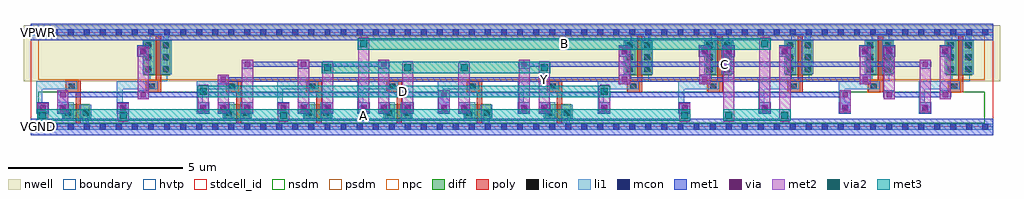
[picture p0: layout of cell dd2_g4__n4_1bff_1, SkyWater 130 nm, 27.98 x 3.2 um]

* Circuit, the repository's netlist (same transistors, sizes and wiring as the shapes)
* Generated reference circuit; dimensions in micrometers.
.subckt dd2_g4__n4_1bff_1 A B C D VGND VNB VPB VPWR Y
XM0 _net1 A VGND VNB sky130_fd_pr__nfet_01v8 w=0.420 l=0.150
XM1 _net1 A VPWR VPB sky130_fd_pr__pfet_01v8_hvt w=1.000 l=0.150
XM2 Y D _net3 VNB sky130_fd_pr__nfet_01v8 w=0.420 l=0.150
XM3 _net3 A _net2 VNB sky130_fd_pr__nfet_01v8 w=0.420 l=0.150
XM4 _net3 B _net2 VNB sky130_fd_pr__nfet_01v8 w=0.420 l=0.150
XM5 _net2 _net1 VGND VNB sky130_fd_pr__nfet_01v8 w=0.420 l=0.150
XM6 _net2 C VGND VNB sky130_fd_pr__nfet_01v8 w=0.420 l=0.150
XM7 Y D VPWR VPB sky130_fd_pr__pfet_01v8_hvt w=1.000 l=0.150
XM8 Y A _net4 VPB sky130_fd_pr__pfet_01v8_hvt w=1.000 l=0.150
XM9 _net4 B VPWR VPB sky130_fd_pr__pfet_01v8_hvt w=1.000 l=0.150
XM10 Y _net1 _net5 VPB sky130_fd_pr__pfet_01v8_hvt w=1.000 l=0.150
XM11 _net5 C VPWR VPB sky130_fd_pr__pfet_01v8_hvt w=1.000 l=0.150
.ends dd2_g4__n4_1bff_1

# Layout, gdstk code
import gdstk
lib = gdstk.Library(unit=1e-6, precision=1e-09)
def R(c, l, rs):  # rectangles x0, y0, x1, y1
    for r in rs: c.add(gdstk.rectangle(r[:2], r[2:], *l))
def A(c, l, x, y, w, h, nx, ny, dx, dy):  # array of equal rectangles
    R(c, l, [(x+i*dx, y+j*dy, x+i*dx+w, y+j*dy+h) for i in range(nx) for j in range(ny)])
nwell = (64, 20)
diff = (65, 20)
poly = (66, 20)
licon = (66, 44)
li1 = (67, 20)
mcon = (67, 44)
met1 = (68, 20)
via = (68, 44)
met2 = (69, 20)
via2 = (69, 44)
met3 = (70, 20)
hvtp = (78, 44)
stdcell_id = (81, 4)
nsdm = (93, 44)
psdm = (94, 20)
npc = (95, 20)
boundary = (235, 4)

dd2_g4__n4_1bff_1 = lib.new_cell('dd2_g4__n4_1bff_1')
R(dd2_g4__n4_1bff_1, nwell, [(-0.19,1.305,27.79,2.91)])
A(dd2_g4__n4_1bff_1, diff, 5.55, 0.235, 0.75, 0.42, 5, 1, 2.3, 0)
A(dd2_g4__n4_1bff_1, diff, 17.05, 1.485, 0.75, 1, 5, 1, 2.3, 0)
R(dd2_g4__n4_1bff_1, diff, [(0.95,0.235,1.7,0.655), (3.25,1.485,4,2.485)])
A(dd2_g4__n4_1bff_1, poly, 5.89, 0.105, 0.15, 1.22, 5, 1, 2.3, 0)
A(dd2_g4__n4_1bff_1, poly, 1.01, 0.995, 0.43, 0.33, 12, 1, 2.3, 0)
A(dd2_g4__n4_1bff_1, poly, 17.39, 0.995, 0.15, 1.62, 5, 1, 2.3, 0)
R(dd2_g4__n4_1bff_1, poly, [(1.29,0.105,1.44,1.325), (3.59,0.995,3.74,2.615)])
A(dd2_g4__n4_1bff_1, licon, 1.09, 1.075, 0.17, 0.17, 12, 1, 2.3, 0)
A(dd2_g4__n4_1bff_1, licon, 3.29, 1.575, 0.17, 0.17, 1, 3, 0, 0.34)
A(dd2_g4__n4_1bff_1, licon, 3.79, 1.575, 0.17, 0.17, 1, 3, 0, 0.34)
A(dd2_g4__n4_1bff_1, licon, 17.09, 1.575, 0.17, 0.17, 1, 3, 0, 0.34)
A(dd2_g4__n4_1bff_1, licon, 17.59, 1.575, 0.17, 0.17, 1, 3, 0, 0.34)
A(dd2_g4__n4_1bff_1, licon, 19.39, 1.575, 0.17, 0.17, 1, 3, 0, 0.34)
A(dd2_g4__n4_1bff_1, licon, 19.89, 1.575, 0.17, 0.17, 1, 3, 0, 0.34)
A(dd2_g4__n4_1bff_1, licon, 21.69, 1.575, 0.17, 0.17, 1, 3, 0, 0.34)
A(dd2_g4__n4_1bff_1, licon, 22.19, 1.575, 0.17, 0.17, 1, 3, 0, 0.34)
A(dd2_g4__n4_1bff_1, licon, 23.99, 1.575, 0.17, 0.17, 1, 3, 0, 0.34)
A(dd2_g4__n4_1bff_1, licon, 24.49, 1.575, 0.17, 0.17, 1, 3, 0, 0.34)
A(dd2_g4__n4_1bff_1, licon, 26.29, 1.575, 0.17, 0.17, 1, 3, 0, 0.34)
A(dd2_g4__n4_1bff_1, licon, 26.79, 1.575, 0.17, 0.17, 1, 3, 0, 0.34)
R(dd2_g4__n4_1bff_1, licon, [(0.99,0.315,1.16,0.485), (1.49,0.315,1.66,0.485), (5.59,0.315,5.76,0.485), (6.09,0.315,6.26,0.485), (7.89,0.315,8.06,0.485), (8.39,0.315,8.56,0.485), (10.19,0.315,10.36,0.485), (10.69,0.315,10.86,0.485), (12.49,0.315,12.66,0.485), (12.99,0.315,13.16,0.485), (14.79,0.315,14.96,0.485), (15.29,0.315,15.46,0.485)])
A(dd2_g4__n4_1bff_1, li1, 0.165, 0.38, 0.17, 0.935, 12, 1, 2.3, 0)
A(dd2_g4__n4_1bff_1, li1, 5.36, 0.38, 0.48, 0.33, 5, 1, 2.3, 0)
A(dd2_g4__n4_1bff_1, li1, 6.01, 0.38, 0.37, 0.33, 3, 1, 2.3, 0)
A(dd2_g4__n4_1bff_1, li1, 16.285, 0.38, 0.33, 0.33, 5, 1, 2.3, 0)
A(dd2_g4__n4_1bff_1, li1, 0.165, 1.075, 1.175, 0.24, 12, 1, 2.3, 0)
A(dd2_g4__n4_1bff_1, li1, 17.59, 1.505, 0.17, 1.3, 3, 1, 4.6, 0)
A(dd2_g4__n4_1bff_1, li1, 16.86, 2.01, 0.48, 0.33, 5, 1, 2.3, 0)
R(dd2_g4__n4_1bff_1, li1, [(0,-0.085,27.6,0.085), (1.49,-0.085,1.66,0.635), (12.99,-0.085,13.16,0.635), (15.29,-0.085,15.46,0.635), (0.91,0.255,1.24,0.635), (1.41,0.255,1.74,0.635), (5.51,0.255,5.84,0.635), (6.01,0.255,6.34,0.635), (7.81,0.255,8.14,0.635), (8.31,0.255,8.64,0.635), (10.11,0.255,10.44,0.635), (10.61,0.255,10.94,0.635), (12.41,0.255,12.74,0.635), (12.91,0.255,13.24,0.635), (14.71,0.255,15.04,0.635), (15.21,0.255,15.54,0.635), (0.185,0.38,0.515,0.71), (0.76,0.38,1.09,0.71), (0.76,0.38,1.24,0.71), (2.485,0.38,2.815,0.71), (4.785,0.38,5.115,0.71), (5.36,0.38,5.69,0.71), (6.05,0.38,6.38,0.71), (7.085,0.38,7.415,0.71), (7.66,0.38,7.99,0.71), (8.35,0.38,8.68,0.71), (9.385,0.38,9.715,0.71), (9.96,0.38,10.29,0.71), (10.65,0.38,10.98,0.71), (11.685,0.38,12.015,0.71), (12.26,0.38,12.59,0.71), (13.985,0.38,14.315,0.71), (14.56,0.38,14.89,0.71), (3.21,1.505,3.54,2.465), (3.71,1.505,4.04,2.465), (3.79,1.505,3.96,2.805), (17.01,1.505,17.34,2.465), (17.51,1.505,17.84,2.465), (19.31,1.505,19.64,2.465), (19.81,1.505,20.14,2.465), (21.61,1.505,21.94,2.465), (22.11,1.505,22.44,2.465), (23.91,1.505,24.24,2.465), (24.41,1.505,24.74,2.465), (26.21,1.505,26.54,2.465), (26.71,1.505,27.04,2.465), (3.06,2.01,3.39,2.34), (3.06,2.01,3.54,2.34), (16.86,2.01,17.19,2.34), (19.16,2.01,19.49,2.34), (19.81,2.01,20.18,2.34), (19.85,2.01,20.18,2.34), (21.46,2.01,21.79,2.34), (23.76,2.01,24.09,2.34), (24.41,2.01,24.78,2.34), (24.45,2.01,24.78,2.34), (26.06,2.01,26.39,2.34), (0,2.635,27.6,2.805)])
A(dd2_g4__n4_1bff_1, mcon, 0.145, -0.085, 0.17, 0.17, 60, 2, 0.46, 2.72)
A(dd2_g4__n4_1bff_1, mcon, 16.365, 0.46, 0.17, 0.17, 5, 1, 2.3, 0)
R(dd2_g4__n4_1bff_1, mcon, [(0.265,0.46,0.435,0.63), (0.84,0.46,1.01,0.63), (2.565,0.46,2.735,0.63), (4.865,0.46,5.035,0.63), (5.44,0.46,5.61,0.63), (6.13,0.46,6.3,0.63), (7.165,0.46,7.335,0.63), (7.74,0.46,7.91,0.63), (8.43,0.46,8.6,0.63), (9.465,0.46,9.635,0.63), (10.04,0.46,10.21,0.63), (10.73,0.46,10.9,0.63), (11.765,0.46,11.935,0.63), (12.34,0.46,12.51,0.63), (14.065,0.46,14.235,0.63), (14.64,0.46,14.81,0.63), (3.14,2.09,3.31,2.26), (16.94,2.09,17.11,2.26), (19.24,2.09,19.41,2.26), (19.93,2.09,20.1,2.26), (21.54,2.09,21.71,2.26), (23.84,2.09,24.01,2.26), (24.53,2.09,24.7,2.26), (26.14,2.09,26.31,2.26)])
A(dd2_g4__n4_1bff_1, met1, 16.285, 0.38, 0.33, 0.33, 5, 1, 2.3, 0)
R(dd2_g4__n4_1bff_1, met1, [(0,-0.24,27.6,0.24), (0.185,0.38,0.515,0.71), (0.76,0.38,1.09,0.71), (2.485,0.38,2.815,0.71), (4.785,0.38,5.115,0.71), (5.36,0.38,5.69,0.71), (6.05,0.38,6.38,0.71), (7.085,0.38,7.415,0.71), (7.66,0.38,7.99,0.71), (8.35,0.38,8.68,0.71), (9.385,0.38,9.715,0.71), (9.96,0.38,10.29,0.71), (10.65,0.38,10.98,0.71), (11.685,0.38,12.015,0.71), (12.26,0.38,12.59,0.71), (13.985,0.38,14.315,0.71), (14.56,0.38,14.89,0.71), (0.765,0.545,1.085,0.92), (11.69,0.545,12.01,0.92), (23.19,0.545,23.51,0.92), (0.765,0.79,1.085,1.05), (3.065,0.79,3.385,1.05), (11.69,0.79,12.01,1.05), (23.19,0.79,23.51,1.05), (24.455,0.79,24.775,1.05), (26.065,0.79,26.385,1.05), (0.76,0.85,23.515,0.99), (24.45,0.85,26.39,0.99), (5.365,1.23,5.685,1.49), (16.865,1.23,17.185,1.49), (19.165,1.23,19.485,1.49), (23.765,1.23,24.085,1.49), (5.36,1.29,24.09,1.43), (6.055,1.67,6.375,1.93), (7.665,1.67,7.985,1.93), (9.965,1.67,10.285,1.93), (13.99,1.67,14.31,1.93), (25.49,1.67,25.81,1.93), (6.05,1.73,10.29,1.87), (13.985,1.73,25.815,1.87), (3.06,2.01,3.39,2.34), (16.86,2.01,17.19,2.34), (19.16,2.01,19.49,2.34), (19.85,2.01,20.18,2.34), (21.46,2.01,21.79,2.34), (23.76,2.01,24.09,2.34), (24.45,2.01,24.78,2.34), (26.06,2.01,26.39,2.34), (0,2.48,27.6,2.96)])
A(dd2_g4__n4_1bff_1, via, 16.375, 0.47, 0.15, 0.15, 5, 1, 2.3, 0)
R(dd2_g4__n4_1bff_1, via, [(0.275,0.47,0.425,0.62), (0.85,0.47,1,0.62), (2.575,0.47,2.725,0.62), (4.875,0.47,5.025,0.62), (5.45,0.47,5.6,0.62), (6.14,0.47,6.29,0.62), (7.175,0.47,7.325,0.62), (7.75,0.47,7.9,0.62), (8.44,0.47,8.59,0.62), (9.475,0.47,9.625,0.62), (10.05,0.47,10.2,0.62), (10.74,0.47,10.89,0.62), (11.775,0.47,11.925,0.62), (12.35,0.47,12.5,0.62), (14.075,0.47,14.225,0.62), (14.65,0.47,14.8,0.62), (0.85,0.845,1,0.995), (3.15,0.845,3.3,0.995), (11.775,0.845,11.925,0.995), (23.275,0.845,23.425,0.995), (24.54,0.845,24.69,0.995), (26.15,0.845,26.3,0.995), (5.45,1.285,5.6,1.435), (16.95,1.285,17.1,1.435), (19.25,1.285,19.4,1.435), (23.85,1.285,24,1.435), (6.14,1.725,6.29,1.875), (7.75,1.725,7.9,1.875), (10.05,1.725,10.2,1.875), (14.075,1.725,14.225,1.875), (25.575,1.725,25.725,1.875), (3.15,2.1,3.3,2.25), (16.95,2.1,17.1,2.25), (19.25,2.1,19.4,2.25), (19.94,2.1,20.09,2.25), (21.55,2.1,21.7,2.25), (23.85,2.1,24,2.25), (24.54,2.1,24.69,2.25), (26.15,2.1,26.3,2.25)])
A(dd2_g4__n4_1bff_1, met2, 16.29, 0.415, 0.32, 0.26, 5, 1, 2.3, 0)
R(dd2_g4__n4_1bff_1, met2, [(0.21,0.155,0.49,0.525), (2.51,0.155,2.79,0.525), (7.11,0.155,7.39,0.525), (18.61,0.155,18.89,0.525), (19.875,0.155,20.155,0.525), (21.485,0.155,21.765,0.525), (0.19,0.21,0.51,0.675), (2.49,0.21,2.81,0.675), (7.09,0.21,7.41,0.675), (18.59,0.21,18.91,0.675), (19.855,0.21,20.175,2.305), (21.465,0.21,21.785,2.305), (0.19,0.415,0.51,0.675), (0.765,0.415,1.085,0.675), (0.765,0.415,1.085,1.05), (2.49,0.415,2.81,0.675), (4.79,0.415,5.11,0.675), (4.79,0.415,5.11,1.15), (5.365,0.415,5.685,0.675), (5.365,0.415,5.685,1.49), (6.055,0.415,6.375,0.675), (6.055,0.415,6.375,1.93), (7.09,0.415,7.41,0.675), (7.665,0.415,7.985,0.675), (7.665,0.415,7.985,1.93), (8.355,0.415,8.675,0.675), (8.355,0.415,8.675,1.83), (9.39,0.415,9.71,0.675), (9.39,0.415,9.71,2.51), (9.965,0.415,10.285,0.675), (9.965,0.415,10.285,1.93), (10.655,0.415,10.975,0.675), (10.655,0.415,10.975,1.83), (11.69,0.415,12.01,0.675), (11.69,0.415,12.01,1.05), (12.265,0.415,12.585,0.675), (12.265,0.415,12.585,1.83), (13.99,0.415,14.31,0.675), (13.99,0.415,14.31,1.93), (14.565,0.415,14.885,0.675), (14.565,0.415,14.885,1.83), (16.29,0.415,16.61,1.15), (20.89,0.415,21.21,2.51), (23.19,0.415,23.51,1.05), (25.49,0.415,25.81,1.93), (0.765,0.79,1.085,1.05), (3.065,0.79,3.385,1.05), (3.065,0.79,3.385,2.305), (11.69,0.79,12.01,1.05), (23.19,0.79,23.51,1.05), (24.455,0.79,24.775,1.05), (24.455,0.79,24.775,2.305), (26.065,0.79,26.385,1.05), (26.065,0.79,26.385,2.305), (4.81,0.835,5.09,1.205), (16.31,0.835,16.59,1.205), (5.365,1.23,5.685,1.49), (16.865,1.23,17.185,1.49), (16.865,1.23,17.185,2.305), (19.165,1.23,19.485,1.49), (19.165,1.23,19.485,2.305), (23.765,1.23,24.085,1.49), (23.765,1.23,24.085,2.305), (8.375,1.515,8.655,1.885), (10.675,1.515,10.955,1.885), (12.285,1.515,12.565,1.885), (14.585,1.515,14.865,1.885), (6.055,1.67,6.375,1.93), (7.665,1.67,7.985,1.93), (9.965,1.67,10.285,1.93), (13.99,1.67,14.31,1.93), (25.49,1.67,25.81,1.93), (3.065,2.045,3.385,2.305), (16.865,2.045,17.185,2.305), (19.165,2.045,19.485,2.305), (19.855,2.045,20.175,2.305), (21.465,2.045,21.785,2.305), (23.765,2.045,24.085,2.305), (24.455,2.045,24.775,2.305), (26.065,2.045,26.385,2.305), (9.41,2.195,9.69,2.565), (20.91,2.195,21.19,2.565)])
R(dd2_g4__n4_1bff_1, via2, [(0.25,0.24,0.45,0.44), (2.55,0.24,2.75,0.44), (7.15,0.24,7.35,0.44), (18.65,0.24,18.85,0.44), (19.915,0.24,20.115,0.44), (21.525,0.24,21.725,0.44), (4.85,0.92,5.05,1.12), (16.35,0.92,16.55,1.12), (8.415,1.6,8.615,1.8), (10.715,1.6,10.915,1.8), (12.325,1.6,12.525,1.8), (14.625,1.6,14.825,1.8), (9.45,2.28,9.65,2.48), (20.95,2.28,21.15,2.48)])
R(dd2_g4__n4_1bff_1, met3, [(0.185,0.175,18.915,0.505), (0.185,0.175,0.515,0.505), (2.485,0.175,2.815,0.505), (7.085,0.175,7.415,0.505), (18.585,0.175,18.915,0.505), (19.85,0.175,21.79,0.505), (19.85,0.175,20.18,0.505), (21.46,0.175,21.79,0.505), (4.785,0.855,16.615,1.185), (4.785,0.855,5.115,1.185), (16.285,0.855,16.615,1.185), (8.35,1.535,14.89,1.865), (8.35,1.535,8.68,1.865), (10.65,1.535,10.98,1.865), (12.26,1.535,12.59,1.865), (14.56,1.535,14.89,1.865), (9.385,2.215,21.215,2.545), (9.385,2.215,9.715,2.545), (20.885,2.215,21.215,2.545)])
A(dd2_g4__n4_1bff_1, hvtp, 17.21, 1.305, 0.51, 1.36, 5, 1, 2.3, 0)
R(dd2_g4__n4_1bff_1, hvtp, [(3.41,1.305,3.92,2.665)])
R(dd2_g4__n4_1bff_1, stdcell_id, [(0,0,27.6,2.72)])
R(dd2_g4__n4_1bff_1, nsdm, [(0.215,0.11,27.355,1.01)])
R(dd2_g4__n4_1bff_1, psdm, [(0.215,1.36,27.355,2.61)])
A(dd2_g4__n4_1bff_1, npc, 0.99, 0.975, 0.37, 0.37, 12, 1, 2.3, 0)
R(dd2_g4__n4_1bff_1, boundary, [(0,0,27.6,2.72)])
dd2_g4__n4_1bff_1.add(gdstk.Label('VGND', (0.23,0), layer=68, texttype=5))
dd2_g4__n4_1bff_1.add(gdstk.Label('VPWR', (0.23,2.72), layer=68, texttype=5))
dd2_g4__n4_1bff_1.add(gdstk.Label('Y', (14.725,1.36), layer=68, texttype=5))
dd2_g4__n4_1bff_1.add(gdstk.Label('C', (19.9,1.8), layer=68, texttype=5))
dd2_g4__n4_1bff_1.add(gdstk.Label('VPB', (0.23,2.72), layer=64, texttype=5))
dd2_g4__n4_1bff_1.add(gdstk.Label('VNB', (0.23,0), layer=64, texttype=59))
dd2_g4__n4_1bff_1.add(gdstk.Label('A', (9.55,0.34), layer=70, texttype=5))
dd2_g4__n4_1bff_1.add(gdstk.Label('D', (10.7,1.02), layer=70, texttype=5))
dd2_g4__n4_1bff_1.add(gdstk.Label('B', (15.3,2.38), layer=70, texttype=5))

lib.write_gds('dd2_g4__n4_1bff_1.gds')
